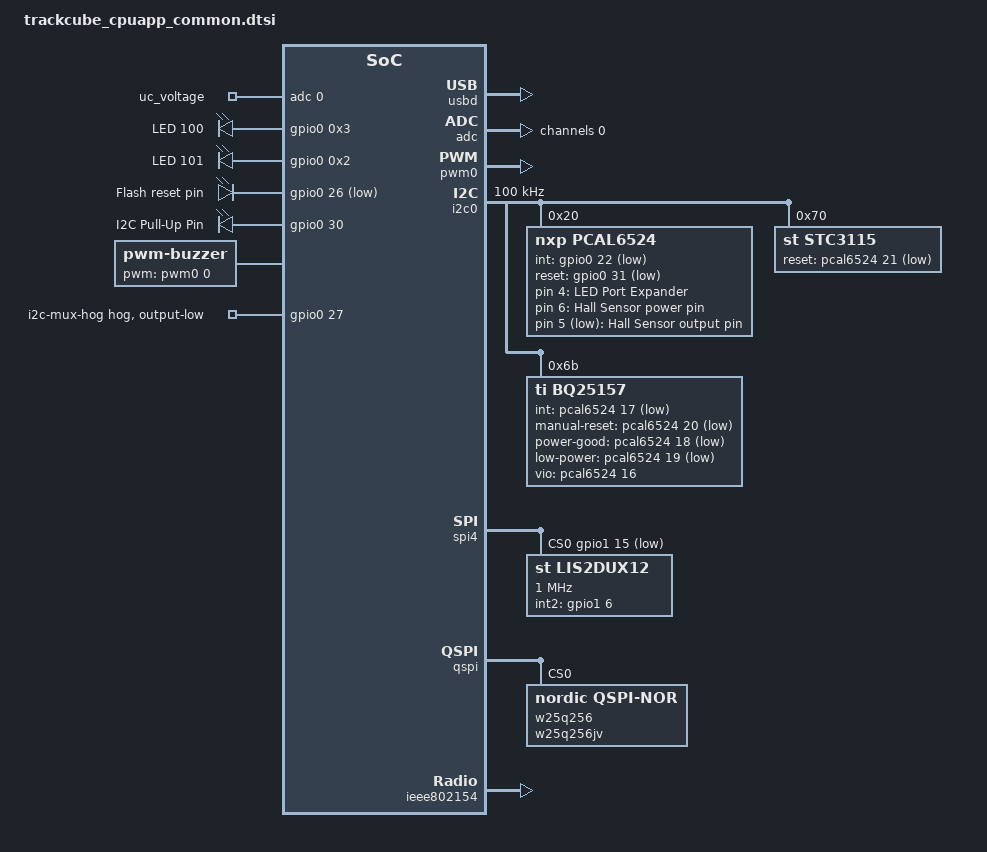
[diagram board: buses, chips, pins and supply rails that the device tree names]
/*
 * Cognid NORA-B10 board configuration
 *
 * Copyright (c) 2025 COGNID Telematik GmbH
 */
#include "trackcube_cpuapp_common-pinctrl.dtsi"
#include <zephyr/dt-bindings/input/input-event-codes.h>

/ {
	zephyr,user {
		io-channels = <&adc 0>;
		io-channel-names = "uc_voltage";
	};

	chosen {
		zephyr,console = &cdc_acm_uart0;
		zephyr,shell-uart = &cdc_acm_uart0;
		zephyr,uart-mcumgr = &cdc_acm_uart0;
		zephyr,bt-mon-uart = &cdc_acm_uart0;
		zephyr,bt-c2h-uart = &cdc_acm_uart0;
		zephyr,bt-hci-rpmsg-ipc = &ipc0;
		nordic,802154-spinel-ipc = &ipc0;
		zephyr,ieee802154 = &ieee802154;
		nordic,pm-ext-flash = &w25q256;
	};

	leds {
		compatible = "gpio-leds";

		led0: led_0 {
			gpios = <&gpio0 0x3 GPIO_ACTIVE_HIGH>;
			label = "LED 100";
		};

		led1: led_1 {
			gpios = <&gpio0 0x2 GPIO_ACTIVE_HIGH>;
			label = "LED 101";
		};

		ledpe: led_pe {
			gpios = <&pcal6524 4 GPIO_ACTIVE_HIGH>;
			label = "LED Port Expander";
		};
	};

	gpio-outputs {
		compatible = "gpio-leds"; // Even if they're not an LED, this binding gives us the needed fields

		flash_reset: flash_reset {
			gpios = <&gpio0 26 (GPIO_ACTIVE_LOW | GPIO_PULL_UP)>;
			label = "Flash reset pin";
		};

		i2c_pullup: i2c_pullup {
			gpios = <&gpio0 30 GPIO_ACTIVE_HIGH>;
			label = "I2C Pull-Up Pin";
		};

		hall_power: hall_power {
			gpios = <&pcal6524 6 GPIO_ACTIVE_HIGH>;
			label = "Hall Sensor power pin";
		};
	};

	gpio-inputs {
		compatible = "gpio-keys";

		hall_io: hall_io {
			gpios = <&pcal6524 5 GPIO_ACTIVE_LOW>;
			label = "Hall Sensor output pin";
		};
	};

	buzzer: buzzer {
		compatible = "pwm-buzzer";
		pwms = <&pwm0 0 PWM_HZ(440) PWM_POLARITY_NORMAL>;
	};

	/* These aliases are provided for compatibility with samples */
	aliases {
		led0 = &led0;
		led1 = &led1;
		ledpe = &ledpe;
		bootloader-led0 = &led0;
		mcuboot-led0 = &led0;
		watchdog0 = &wdt0;
		spi-flash0 = &w25q256;
		accel0 = &lis2dux12;
		fuelgauge0 = &stc3115;
	};
};

&usbd {
	cdc_acm_uart0: cdc_acm_uart0 {
		compatible = "zephyr,cdc-acm-uart";
	};
};

&adc {
	status = "okay";
	#address-cells = <1>;
	#size-cells = <0>;

	uc_voltage: channel@0 {
		reg = <0>;
		zephyr,gain = "ADC_GAIN_1_6";
		zephyr,reference = "ADC_REF_INTERNAL";
		zephyr,input-positive = <NRF_SAADC_VDD>;
		zephyr,vref-mv = <600>;
		zephyr,acquisition-time = <ADC_ACQ_TIME_DEFAULT>;
		zephyr,resolution = <12>;
		zephyr,oversampling = <8>;
	};
};

&gpiote {
	status = "okay";
};

&gpio0 {
	status = "okay";

	// MUX is not used => fixed state
	i2c-mux-hog {
		gpio-hog;
		gpios = <27 GPIO_ACTIVE_HIGH>;
		output-low;  // forward SCL/SDA to STC3115 on Bat
	};
};

&gpio1 {
	status = "okay";
};

&pwm0 {
	status = "okay";
	pinctrl-0 = <&pwm0_default>;
	pinctrl-1 = <&pwm0_sleep>;
	pinctrl-names = "default", "sleep";
};

&uicr {
	nfct-pins-as-gpios;
};

&i2c0 {
	compatible = "nordic,nrf-twim";
	status = "okay";
	pinctrl-0 = <&i2c0_default>;
	pinctrl-1 = <&i2c0_sleep>;
	pinctrl-names = "default", "sleep";
	clock-frequency = <I2C_BITRATE_STANDARD>;
	zephyr,concat-buf-size = <24>;
	zephyr,flash-buf-max-size = <24>;

	pcal6524: pcal6524@20 {
		compatible = "nxp,pcal6524";
		reg = <0x20>;
		gpio-controller;
		#gpio-cells = <2>;
		ngpios = <24>;
		int-gpios = <&gpio0 22 (GPIO_ACTIVE_LOW | GPIO_PULL_UP)>;
		reset-gpios = <&gpio0 31 (GPIO_ACTIVE_LOW | GPIO_PULL_UP)>;
		status = "okay";
	};

	stc3115: stc3115@70 {
		compatible = "st,stc3115";
		reg = <0x70>;
		reset-gpios = < &pcal6524 21 (GPIO_ACTIVE_LOW | GPIO_PULL_UP) >;
		status = "okay";
		capacity = <5300>;
		r-sense = <47>;
		vmode = "mixed";
		relax-current = <5>;
//		ocv-offset-table = <(5000) (5000) (5000) (5000) (5000) (5000) (5000) (5000) (5000) (5000) (5000) (5000) (5000) (5000)>;
	};

	bq25157: bq25157@6b {
		compatible = "ti,bq25157";
		reg = <0x6b>;
		status = "okay";
		int-gpios = < &pcal6524 17 (GPIO_ACTIVE_LOW | GPIO_PULL_UP) >;
		manual-reset-gpios = < &pcal6524 20 (GPIO_ACTIVE_LOW | GPIO_PULL_UP) >;
		power-good-gpios = < &pcal6524 18 (GPIO_PULL_UP | GPIO_ACTIVE_LOW) >;
		low-power-gpios = < &pcal6524 19 (GPIO_ACTIVE_LOW) >;
		vio-gpios = < &pcal6524 16 (GPIO_ACTIVE_HIGH) >;
		battery-voltage-mv = <4100>;
		termination-current-ua = <0>;
	};
};

&spi4 {
	compatible = "nordic,nrf-spim";
	#address-cells = <1>;
	#size-cells = <0>;
	reg = <0xa000 0x1000>;
	interrupts = <10 NRF_DEFAULT_IRQ_PRIORITY>;
	max-frequency = <DT_FREQ_M(4)>;
	easydma-maxcnt-bits = <16>;
	rx-delay-supported;
	rx-delay = <2>;
	status = "okay";
	pinctrl-0 = <&spi4_default>;
	pinctrl-1 = <&spi4_sleep>;
	pinctrl-names = "default", "sleep";
	cs-gpios = <&gpio1 15 GPIO_ACTIVE_LOW>;

	lis2dux12: lis2dux12@0 {
		compatible = "st,lis2dux12";
		reg = <0>;
		spi-max-frequency = <1000000>; // Adjust as needed for your application
		status = "okay";
		// int1-gpios: nc
		int2-gpios = <&gpio1 6 GPIO_ACTIVE_HIGH>;
		drdy-pin = <2>;
		power-mode = <2>;
		odr = <8>;
	};
};

&qspi {
	status = "okay";
	pinctrl-0 = <&qspi_default>;
	pinctrl-1 = <&qspi_sleep>;
	pinctrl-names = "default", "sleep";

	w25q256: w25q256jv@0 {
		compatible = "nordic,qspi-nor";
		readoc = "read4io";
		writeoc = "pp4o";
		reg = <0>;
		sck-frequency = <133000000>;
		jedec-id = [ef 60 19];
		size = <0x10000000>;
		has-dpd;
		t-enter-dpd = <3500>;
		t-exit-dpd = <3500>;
	};
};

&pcal6524 {
	// For now, always power the flash
	// May be replaced with a GPIO output to cut power to the flash.
	flash-power-enable {
		gpio-hog;
		gpios = <1 GPIO_ACTIVE_HIGH>;
		output-high;
	};
};

&flash0 {

	partitions {
		compatible = "fixed-partitions";
		#address-cells = <1>;
		#size-cells = <1>;

		boot_partition: partition@0 {
			label = "mcuboot";
			reg = <0x00000000 0x00010000>;
		};

		slot0_partition: partition@10000 {
			label = "image-0";
		};

		slot0_ns_partition: partition@50000 {
			label = "image-0-nonsecure";
		};

		slot1_partition: partition@80000 {
			label = "image-1";
		};

		slot1_ns_partition: partition@c0000 {
			label = "image-1-nonsecure";
		};

		/* 0xf0000 to 0xf7fff reserved for TF-M partitions */
		storage_partition: partition@f8000 {
			label = "storage";
			reg = <0x000f8000 0x00008000>;
		};
	};
};

&ieee802154 {
	status = "okay";
};

zephyr_udc0: &usbd {
	compatible = "nordic,nrf-usbd";
	status = "okay";
};

/ {

	reserved-memory {
		#address-cells = <1>;
		#size-cells = <1>;
		ranges;

		sram0_image: image@20000000 {
			/* Zephyr image(s) memory */
		};

		sram0_s: image_s@20000000 {
			/* Secure image memory */
		};

		sram0_ns: image_ns@20040000 {
			/* Non-Secure image memory */
		};
	};
};

/* Include partition configuration file */
#include "trackcube_cpuapp_partition_conf.dtsi"
